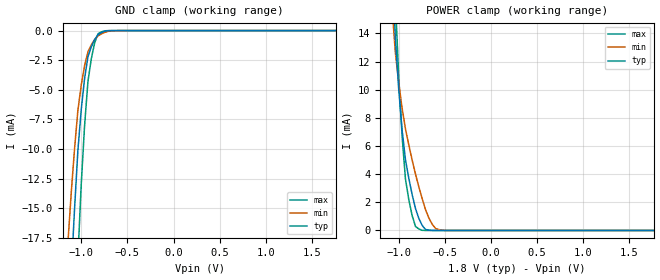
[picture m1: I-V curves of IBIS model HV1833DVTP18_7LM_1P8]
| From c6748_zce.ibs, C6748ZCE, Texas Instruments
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|NOSR0_NOTERM_0.1_1P8
|BUFFER OPERATING AT FAST MODE WITH 1.8V SUPPLY WITH +/-0.1V VARIATION
|   Model Cell HV1833DVTP18_7LM_1P8
|IHHV1833DVTP18_1P8
[Model]   HV1833DVTP18_7LM_1P8
Model_type   Input
Polarity   Non-Inverting
Vinl =  0.63V
Vinh =  1.17V
C_comp   0.7294814p   0.6184726p   0.8493104p
[Model Spec]
Vinl   0.63V   0.567V   0.693V
Vinh   1.17V   1.053V   1.287V
[Temperature Range]   25   125   -40
[Voltage Range]   1.8   1.62   1.98
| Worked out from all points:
|   GND clamp passes 1 mA (typ) near -0.87 V on its own axis
|   POWER clamp passes 1 mA (typ) near -0.79 V on its own axis
[POWER_clamp]
|   voltage   I(typ)   I(min)   I(max)
-1.8V     187.7mA    158.1mA    215.5mA
-1.073V   18.99mA    15.82mA    23.57mA
-1.036V   13.65mA    12.62mA    16.33mA
-1V       10.01mA    10.49mA    10.92mA
-963.6mV  7.141mA    8.694mA    6.699mA
-927.3mV  5.03mA     7.227mA    3.67mA
-854.5mV  2.547mA    5mA        1.054mA
-781.8mV  850.9uA    3.095mA    106.6uA
-709.1mV  68.54uA    1.464mA    1.258uA
-636.4mV  4.105uA    432.7uA    198.1nA
-527.3mV  67.96nA    16.14uA    110.9nA
1.764V    -2.173pA   -498.8pA   -4.977pA
[GND_clamp]
|   voltage   I(typ)   I(min)   I(max)
-1.8V     -165.1mA   -131.7mA   -236.3mA
-1.145V   -26.58mA   -18.01mA   -45.04mA
-1.109V   -20.58mA   -13.76mA   -35.89mA
-1.073V   -15.09mA   -10.01mA   -27.27mA
-1.036V   -10.13mA   -6.739mA   -19.19mA
-1V       -6.678mA   -4.606mA   -12.98mA
-963.6mV  -4.038mA   -2.956mA   -8.012mA
-927.3mV  -2.206mA   -1.79mA    -4.293mA
-854.5mV  -757uA     -757.6uA   -1.04mA
-818.2mV  -351.4uA   -449.1uA   -270.3uA
-600mV    -377.8nA   -4.974uA   -26.71nA
1.764V    22.6nA     12.56nA    79.89nA
